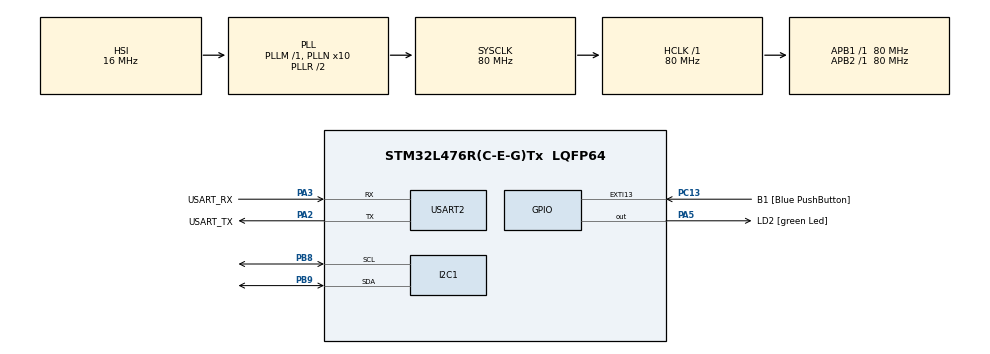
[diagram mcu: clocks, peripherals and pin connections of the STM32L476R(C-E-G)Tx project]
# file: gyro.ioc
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I2C1.Timing=0x10D19CE4
Mcu.Family=STM32L4
Mcu.Name=STM32L476R(C-E-G)Tx
Mcu.Package=LQFP64
NVIC.PriorityGroup=NVIC_PRIORITYGROUP_4
PA13\ (JTMS-SWDIO).GPIO_Label=TMS
PA13\ (JTMS-SWDIO).Mode=Serial_Wire
PA13\ (JTMS-SWDIO).Signal=SYS_JTMS-SWDIO
PA14\ (JTCK-SWCLK).GPIO_Label=TCK
PA14\ (JTCK-SWCLK).Mode=Serial_Wire
PA14\ (JTCK-SWCLK).Signal=SYS_JTCK-SWCLK
PA2.GPIO_Label=USART_TX
PA2.GPIO_Mode=GPIO_MODE_AF_PP
PA2.GPIO_PuPd=GPIO_NOPULL
PA2.GPIO_Speed=GPIO_SPEED_FREQ_VERY_HIGH
PA2.Mode=Asynchronous
PA2.Signal=USART2_TX
PA3.GPIO_Label=USART_RX
PA3.GPIO_Mode=GPIO_MODE_AF_PP
PA3.GPIO_PuPd=GPIO_NOPULL
PA3.GPIO_Speed=GPIO_SPEED_FREQ_VERY_HIGH
PA3.Mode=Asynchronous
PA3.Signal=USART2_RX
PA5.GPIO_Label=LD2 [green Led]
PA5.GPIO_ModeDefaultOutputPP=GPIO_MODE_OUTPUT_PP
PA5.GPIO_PuPd=GPIO_NOPULL
PA5.GPIO_Speed=GPIO_SPEED_FREQ_LOW
PA5.Signal=GPIO_Output
PB3\ (JTDO-TRACESWO).GPIO_Label=SWO
PB3\ (JTDO-TRACESWO).Signal=SYS_JTDO-SWO
PB8.Mode=I2C
PB8.Signal=I2C1_SCL
PB9.Mode=I2C
PB9.Signal=I2C1_SDA
PC13.GPIO_Label=B1 [Blue PushButton]
PC13.GPIO_ModeDefaultEXTI=GPIO_MODE_IT_FALLING
PC13.GPIO_PuPd=GPIO_NOPULL
PC13.Signal=GPXTI13
PC14-OSC32_IN\ (PC14).Mode=LSE-External-Oscillator
PC14-OSC32_IN\ (PC14).Signal=RCC_OSC32_IN
PC15-OSC32_OUT\ (PC15).Mode=LSE-External-Oscillator
PC15-OSC32_OUT\ (PC15).Signal=RCC_OSC32_OUT
PH0-OSC_IN\ (PH0).Signal=RCC_OSC_IN
PH1-OSC_OUT\ (PH1).Signal=RCC_OSC_OUT
ProjectManager.HeapSize=0x200
ProjectManager.StackSize=0x400
ProjectManager.TargetToolchain=STM32CubeIDE
RCC.ADCFreq_Value=64000000
RCC.AHBFreq_Value=80000000
RCC.APB1Freq_Value=80000000
RCC.APB1TimFreq_Value=80000000
RCC.APB2Freq_Value=80000000
RCC.APB2TimFreq_Value=80000000
RCC.CortexFreq_Value=80000000
RCC.HCLKFreq_Value=80000000
RCC.HSE_VALUE=8000000
RCC.HSI_VALUE=16000000
RCC.MSI_VALUE=4000000
RCC.PLLN=10
RCC.PLLSourceVirtual=RCC_PLLSOURCE_HSI
RCC.PREFETCH_ENABLE=1
RCC.SYSCLKFreq_VALUE=80000000
RCC.SYSCLKSource=RCC_SYSCLKSOURCE_PLLCLK
RCC.USBFreq_Value=64000000
RCC.VCOOutputFreq_Value=160000000
USART2.VirtualMode-Asynchronous=VM_ASYNC
board=NUCLEO-L476RG

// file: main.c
/* USER CODE BEGIN Header */
/**
  ******************************************************************************
  * @file           : main.c
  * @brief          : Main program body
  ******************************************************************************
  * @attention
  *
  * Copyright (c) 2025 STMicroelectronics.
  * All rights reserved.
  *
  * This software is licensed under terms that can be found in the LICENSE file
  * in the root directory of this software component.
  * If no LICENSE file comes with this software, it is provided AS-IS.
  *
  ******************************************************************************
  */
/* USER CODE END Header */
#include "main.h"

/* USER CODE BEGIN Includes */
#include "MPU6050.h"
extern UART_HandleTypeDef huart2;
/* USER CODE END Includes */

I2C_HandleTypeDef hi2c1;

UART_HandleTypeDef huart2;

void SystemClock_Config(void);
static void MX_GPIO_Init(void);
static void MX_USART2_UART_Init(void);
static void MX_I2C1_Init(void);

int main(void)
{

  /* USER CODE BEGIN 1 */
	char buffer1[100];
	char buffer2[100];
	char buffer3[100];
  /* USER CODE END 1 */

  /* MCU Configuration--------------------------------------------------------*/

  /* Reset of all peripherals, Initializes the Flash interface and the Systick. */
  HAL_Init();

  /* Configure the system clock */
  SystemClock_Config();

  /* Initialize all configured peripherals */
  MX_GPIO_Init();
  MX_USART2_UART_Init();
  MX_I2C1_Init();
  /* USER CODE BEGIN 2 */
  MPU6050_Init();
  /* USER CODE END 2 */

  /* Infinite loop */
  while (1)
  {

    /* USER CODE BEGIN 3 */
	  MPU6050_Read_Gyro();
	  MPU6050_Read_Accel();
	  MPU6050_Read_Temp();

	  sprintf(buffer1, "Ax: %.2f  Ay: %.2f  Az: %.2f\r\n", Ax, Ay, Az);
	  HAL_UART_Transmit(&huart2, (uint8_t*)buffer1, strlen(buffer1),100);// Sending in normal mode
	  HAL_Delay(1000);
	  sprintf(buffer2, "Gx: %.2f  Gy: %.2f  Gz: %.2f\r\n", Gx, Gy, Gz);
	  HAL_UART_Transmit(&huart2, (uint8_t*)buffer2, strlen(buffer2),100);// Sending in normal mode
	  HAL_Delay(1000);
	  sprintf(buffer3, "Temperature: %.2f\r\n", temp);
	  HAL_UART_Transmit(&huart2, (uint8_t*)buffer3, strlen(buffer3),100);// Sending in normal mode
	  HAL_Delay(1000);
  }
  /* USER CODE END 3 */
}

void SystemClock_Config(void)
{
  RCC_OscInitTypeDef RCC_OscInitStruct = {0};
  RCC_ClkInitTypeDef RCC_ClkInitStruct = {0};

  /** Configure the main internal regulator output voltage
  */
  if (HAL_PWREx_ControlVoltageScaling(PWR_REGULATOR_VOLTAGE_SCALE1) != HAL_OK)
  {
    Error_Handler();
  }

  /** Initializes the RCC Oscillators according to the specified parameters
  * in the RCC_OscInitTypeDef structure.
  */
  RCC_OscInitStruct.OscillatorType = RCC_OSCILLATORTYPE_HSI;
  RCC_OscInitStruct.HSIState = RCC_HSI_ON;
  RCC_OscInitStruct.HSICalibrationValue = RCC_HSICALIBRATION_DEFAULT;
  RCC_OscInitStruct.PLL.PLLState = RCC_PLL_ON;
  RCC_OscInitStruct.PLL.PLLSource = RCC_PLLSOURCE_HSI;
  RCC_OscInitStruct.PLL.PLLM = 1;
  RCC_OscInitStruct.PLL.PLLN = 10;
  RCC_OscInitStruct.PLL.PLLP = RCC_PLLP_DIV7;
  RCC_OscInitStruct.PLL.PLLQ = RCC_PLLQ_DIV2;
  RCC_OscInitStruct.PLL.PLLR = RCC_PLLR_DIV2;
  if (HAL_RCC_OscConfig(&RCC_OscInitStruct) != HAL_OK)
  {
    Error_Handler();
  }

  /** Initializes the CPU, AHB and APB buses clocks
  */
  RCC_ClkInitStruct.ClockType = RCC_CLOCKTYPE_HCLK|RCC_CLOCKTYPE_SYSCLK
                              |RCC_CLOCKTYPE_PCLK1|RCC_CLOCKTYPE_PCLK2;
  RCC_ClkInitStruct.SYSCLKSource = RCC_SYSCLKSOURCE_PLLCLK;
  RCC_ClkInitStruct.AHBCLKDivider = RCC_SYSCLK_DIV1;
  RCC_ClkInitStruct.APB1CLKDivider = RCC_HCLK_DIV1;
  RCC_ClkInitStruct.APB2CLKDivider = RCC_HCLK_DIV1;

  if (HAL_RCC_ClockConfig(&RCC_ClkInitStruct, FLASH_LATENCY_4) != HAL_OK)
  {
    Error_Handler();
  }
}

static void MX_I2C1_Init(void)
{

  hi2c1.Instance = I2C1;
  hi2c1.Init.Timing = 0x10D19CE4;
  hi2c1.Init.OwnAddress1 = 0;
  hi2c1.Init.AddressingMode = I2C_ADDRESSINGMODE_7BIT;
  hi2c1.Init.DualAddressMode = I2C_DUALADDRESS_DISABLE;
  hi2c1.Init.OwnAddress2 = 0;
  hi2c1.Init.OwnAddress2Masks = I2C_OA2_NOMASK;
  hi2c1.Init.GeneralCallMode = I2C_GENERALCALL_DISABLE;
  hi2c1.Init.NoStretchMode = I2C_NOSTRETCH_DISABLE;
  if (HAL_I2C_Init(&hi2c1) != HAL_OK)
  {
    Error_Handler();
  }

  /** Configure Analogue filter
  */
  if (HAL_I2CEx_ConfigAnalogFilter(&hi2c1, I2C_ANALOGFILTER_ENABLE) != HAL_OK)
  {
    Error_Handler();
  }

  /** Configure Digital filter
  */
  if (HAL_I2CEx_ConfigDigitalFilter(&hi2c1, 0) != HAL_OK)
  {
    Error_Handler();
  }

}

static void MX_USART2_UART_Init(void)
{

  huart2.Instance = USART2;
  huart2.Init.BaudRate = 115200;
  huart2.Init.WordLength = UART_WORDLENGTH_8B;
  huart2.Init.StopBits = UART_STOPBITS_1;
  huart2.Init.Parity = UART_PARITY_NONE;
  huart2.Init.Mode = UART_MODE_TX_RX;
  huart2.Init.HwFlowCtl = UART_HWCONTROL_NONE;
  huart2.Init.OverSampling = UART_OVERSAMPLING_16;
  huart2.Init.OneBitSampling = UART_ONE_BIT_SAMPLE_DISABLE;
  huart2.AdvancedInit.AdvFeatureInit = UART_ADVFEATURE_NO_INIT;
  if (HAL_UART_Init(&huart2) != HAL_OK)
  {
    Error_Handler();
  }

}

static void MX_GPIO_Init(void)
{
  GPIO_InitTypeDef GPIO_InitStruct = {0};

  /* GPIO Ports Clock Enable */
  __HAL_RCC_GPIOC_CLK_ENABLE();
  __HAL_RCC_GPIOH_CLK_ENABLE();
  __HAL_RCC_GPIOA_CLK_ENABLE();
  __HAL_RCC_GPIOB_CLK_ENABLE();

  /*Configure GPIO pin Output Level */
  HAL_GPIO_WritePin(LD2_GPIO_Port, LD2_Pin, GPIO_PIN_RESET);

  /*Configure GPIO pin : B1_Pin */
  GPIO_InitStruct.Pin = B1_Pin;
  GPIO_InitStruct.Mode = GPIO_MODE_IT_FALLING;
  GPIO_InitStruct.Pull = GPIO_NOPULL;
  HAL_GPIO_Init(B1_GPIO_Port, &GPIO_InitStruct);

  /*Configure GPIO pin : LD2_Pin */
  GPIO_InitStruct.Pin = LD2_Pin;
  GPIO_InitStruct.Mode = GPIO_MODE_OUTPUT_PP;
  GPIO_InitStruct.Pull = GPIO_NOPULL;
  GPIO_InitStruct.Speed = GPIO_SPEED_FREQ_LOW;
  HAL_GPIO_Init(LD2_GPIO_Port, &GPIO_InitStruct);

}

void Error_Handler(void)
{
  __disable_irq();
  while (1)
  {
  }
}
